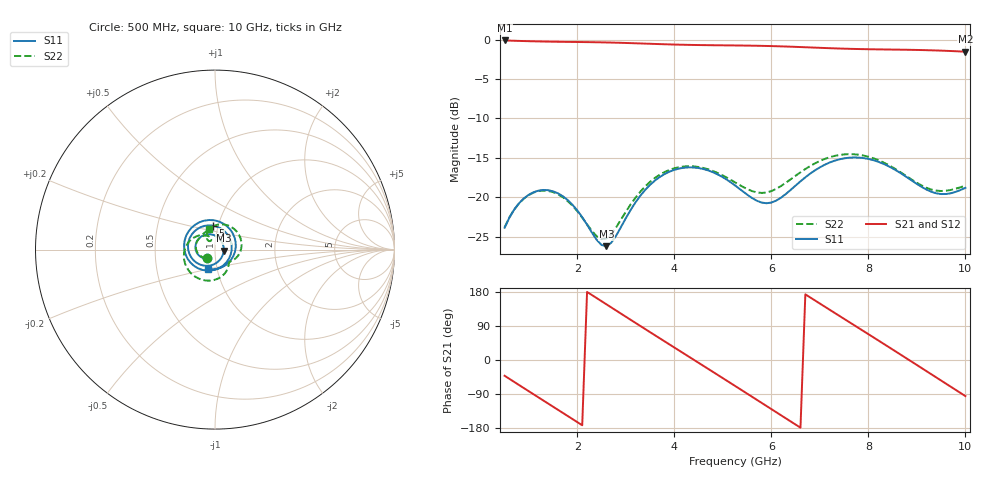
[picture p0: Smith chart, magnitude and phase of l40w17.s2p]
! Touchstone file exported from HFSS 3D Layout Design 2026.1.0
!  File:  D:/Work/ADS/HFSS_VERDICT/hfss_sma_connector_cpw.aedt
!  Generated:  02:52:51 PM Aug  6, 2026
!  Design:  SINGLE_END_SMA_CPW_30MM
!  Project:  hfss_sma_connector_cpw
! Variables:
!  $sma_Base_D = 6.25mm
!  $sma_Base_L = 8mm
!  $sma_Feet_L = 4mm
!  $sma_Feet_W = 1mm
!  $sma_Front_L = 1.5mm
!  $sma_Front_W = 6.5mm
!  $sma_Hole_D = 1.25mm
!  $sma_PTFE_D = 4.2mm
!  $sma_Pin_D = 0.95mm
!  $sma_Pin_P = 1.7mm
# GHz S MA R 50.000000
! Terminal data exported
! Port[1] = Port1
! Port[2] = S1_1_Pin_T1
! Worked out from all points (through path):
!   96 points, 500 MHz to 10 GHz, reference 50 ohm
!   highest |S21| = -0.10 dB at 500 MHz (marker M1); lowest = -1.5 dB at 10 GHz (marker M2)
!   group delay of S21, straight-line fit = 226 ps
!   lowest |S11| = -26.2 dB at 2.6 GHz (marker M3), VSWR 1.10, Z = 55.1 - j0.727 ohm
!   |S11| at or under -10 dB: start of sweep to end of sweep
!   |S22| runs from -25.3 to -14.5 dB; largest |S21 - S12| = 1.6e-14
!   S11 on the Smith chart (normalised r, x): 500 MHz: 0.92, -0.09; 5 GHz: 0.95, +0.26; 10 GHz: 0.91, -0.20
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0.5  0.06414 -131.0  0.9881 -41.6  0.9881 -41.6  0.06436 -134.2
0.9  0.09852 -163.8  0.9794 -74.4  0.9794 -74.4  0.0983 -168.4
1.3  0.1113 163.0  0.9726 -107.0  0.9726 -107.0  0.1103 159.5
1.7  0.1016 127.3  0.9684 -139.6  0.9684 -139.6  0.1001 130.9
2.1  0.07476 83.8  0.9652 -172.2  0.9652 -172.2  0.07434 111.4
2.6  0.04897 -7.7  0.9597 146.9  0.9597 146.9  0.05488 121.3
3.2  0.09298 -107.2  0.9481 97.8  0.9481 97.8  0.09962 116.9
3.7  0.1346 -155.2  0.9368 57.2  0.9368 57.2  0.1392 84.5
4.4  0.1545 146.9  0.9251 0.6  0.9251 0.6  0.157 31.7
5  0.134 94.5  0.9202 -48.0  0.9202 -48.0  0.1374 -9.7
5.3  0.1159 63.5  0.9182 -72.4  0.9182 -72.4  0.1219 -25.7
5.7  0.09509 12.5  0.9144 -105.1  0.9144 -105.1  0.1073 -38.9
6.2  0.09953 -61.9  0.9064 -145.9  0.9064 -145.9  0.1179 -50.6
6.6  0.1263 -111.8  0.8973 -178.6  0.8973 -178.6  0.1441 -68.1
6.9  0.1483 -142.8  0.8898 157.0  0.8898 157.0  0.1642 -85.9
7.3  0.1705 -179.6  0.8804 124.7  0.8804 124.7  0.1829 -112.9
7.7  0.1789 145.5  0.8731 92.4  0.8731 92.4  0.1875 -141.1
8.1  0.172 110.4  0.8683 60.1  0.8683 60.1  0.177 -168.8
8.5  0.1525 72.9  0.865 27.6  0.865 27.6  0.1548 166.1
9.2  0.1118 -6.3  0.8573 -29.6  0.8573 -29.6  0.1148 135.2
9.6  0.1049 -59.6  0.8493 -62.5  0.8493 -62.5  0.11 123.1
10  0.1149 -109.4  0.8385 -95.2  0.8385 -95.2  0.1186 105.9
